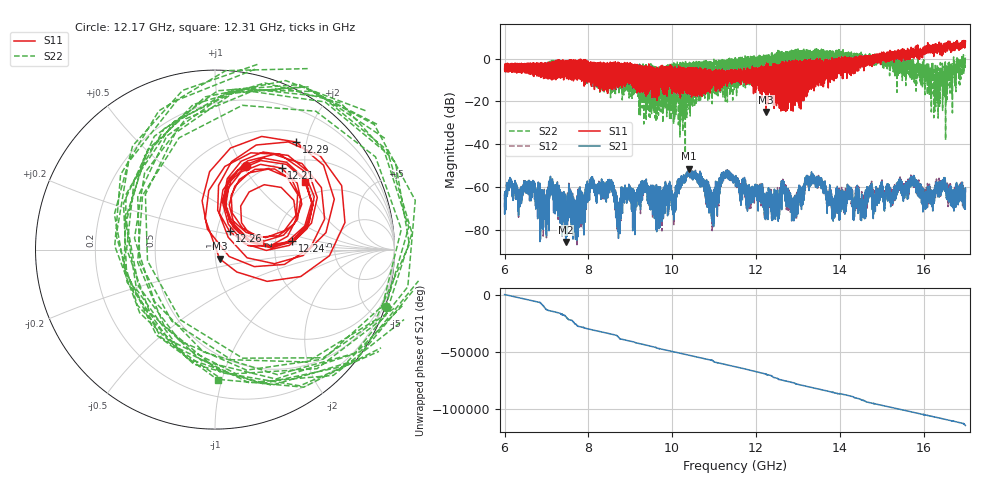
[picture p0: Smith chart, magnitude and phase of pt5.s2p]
#  HZ  S  RI  R  50.00
! Rohde & Schwarz Vector Network Analyzer
! Rohde-Schwarz,ZNA67-2Port,1332450062101215,3.01
! Created: UTC 10/26/2026, 4:03:31 PM
! freq[Hz]  re:S11  im:S11  re:S21  im:S21  re:S12  im:S12  re:S22  im:S22
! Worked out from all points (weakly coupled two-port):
!   11001 points, 6 GHz to 17 GHz, reference 50 ohm
!   highest |S21| = -51.45 dB at 10.39 GHz (marker M1); lowest = -85.7 dB at 7.459 GHz (marker M2)
!   lowest |S11| = -24.9 dB at 12.24 GHz (marker M3), VSWR 1.12, Z = 52.3 - j5.31 ohm
!   |S11| at or under -10 dB: 10.60196 GHz to 10.60602 GHz (4.056 MHz wide, 0.0382 % of centre); 10.81191 GHz to 10.81629 GHz (4.378 MHz wide, 0.0405 % of centre); 10.82268 GHz to 10.82725 GHz (4.567 MHz wide, 0.0422 % of centre) (the widest 3 of 475)
!   |S22| runs from -44.2 to 4.7 dB; largest |S21 - S12| = 0.0012
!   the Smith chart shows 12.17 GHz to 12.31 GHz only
!   S11 on the Smith chart (normalised r, x): 12.17 GHz: 0.83, +1.04; 12.21 GHz: 1.09, +1.51; 12.24 GHz: 2.48, +0.30; 12.26 GHz: 1.15, +0.24; 12.29 GHz: 0.66, +1.82; 12.31 GHz: 1.54, +1.93
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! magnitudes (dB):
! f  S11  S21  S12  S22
! 6 GHz  -5.2  -63.2  -63.3  -5.5
! 6.961 GHz  -2.3  -72.4  -72.4  -3.7
! 7.107 GHz  -7.5  -58.4  -58.2  -2.4
! 7.459 GHz  -2.9  -85.7  -80.1  -2.4
! 7.834 GHz  -0.7  -67.6  -67.3  -3.6
! 9.667 GHz  -5.0  -70.0  -70.1  -4.7
! 10.39 GHz  -11.1  -51.5  -51.3  -21.9
! 10.96 GHz  -11.4  -69.1  -70.4  -5.6
! 11.5 GHz  -9.5  -57.5  -56.8  -2.7
! 12.17 GHz  -6.0  -65.0  -64.7  0.0
! 12.21 GHz  -4.6  -67.3  -67.2  -4.2
! 12.24 GHz  -7.3  -68.4  -68.2  -3.3
! 12.24 GHz  -24.9  -67.4  -66.8  1.4
! 12.26 GHz  -17.7  -66.6  -68.1  -0.8
! 12.29 GHz  -2.5  -62.8  -63.5  -2.3
! 12.31 GHz  -4.1  -63.3  -63.4  -2.8
! 12.91 GHz  -6.9  -71.3  -70.3  1.3
! 13.33 GHz  -2.3  -57.9  -58.4  -2.3
! 13.85 GHz  -0.3  -68.3  -67.9  -0.3
! 15.17 GHz  2.5  -60.7  -61.6  -1.0
! 16.3 GHz  5.8  -61.5  -59.9  -4.4
! 17 GHz  8.3  -62.0  -60.9  1.4
